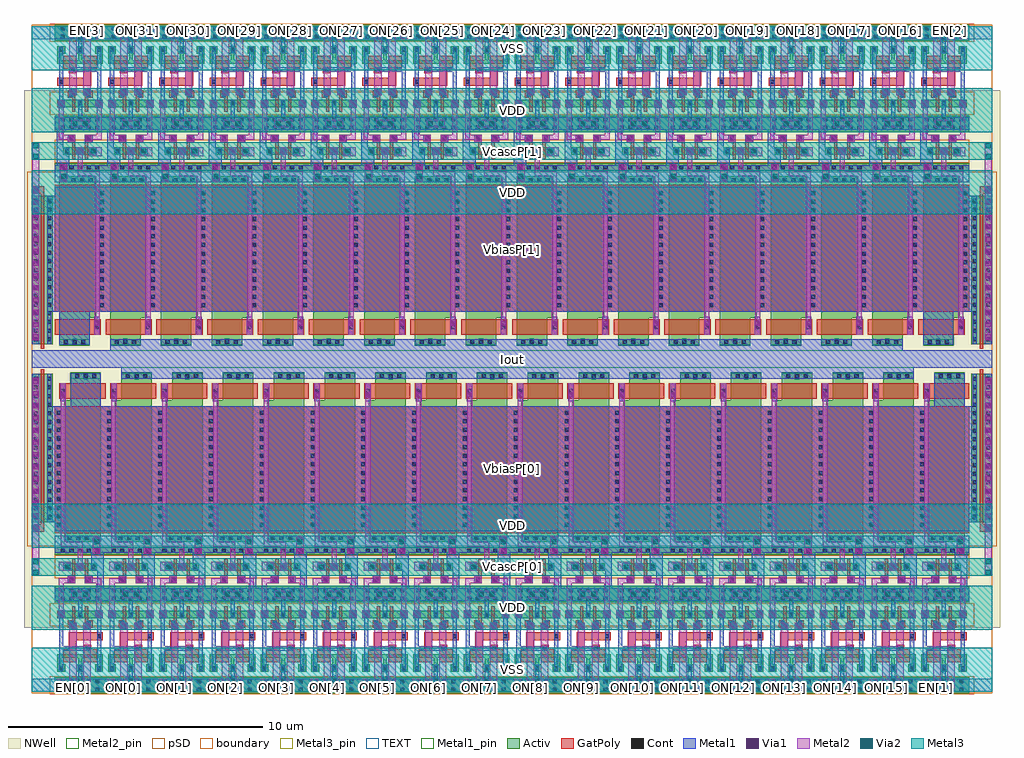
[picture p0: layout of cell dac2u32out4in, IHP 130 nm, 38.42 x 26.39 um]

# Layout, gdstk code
from math import pi, radians
import gdstk
lib = gdstk.Library(unit=1e-6, precision=1e-09)
def R(c, l, rs):  # rectangles x0, y0, x1, y1
    for r in rs: c.add(gdstk.rectangle(r[:2], r[2:], *l))
def A(c, l, x, y, w, h, nx, ny, dx, dy):  # array of equal rectangles
    R(c, l, [(x+i*dx, y+j*dy, x+i*dx+w, y+j*dy+h) for i in range(nx) for j in range(ny)])
Activ = (1, 0)
GatPoly = (5, 0)
Cont = (6, 0)
Metal1 = (8, 0)
Metal1_pin = (8, 2)
Metal2 = (10, 0)
Metal2_pin = (10, 2)
pSD = (14, 0)
Via1 = (19, 0)
Via2 = (29, 0)
Metal3 = (30, 0)
Metal3_pin = (30, 2)
NWell = (31, 0)
TEXT = (63, 0)
boundary = (189, 4)

feol_contacts_3_1_1 = lib.new_cell('FEOL$contacts$3$1$1')
A(feol_contacts_3_1_1, Cont, 0.125, 0, 0.16, 0.16, 17, 1, 0.34, 0)
R(feol_contacts_3_1_1, Metal1, [(0,0,5.85,0.16)])

feol_contacts_8_1 = lib.new_cell('FEOL$contacts$8$1')
R(feol_contacts_8_1, Cont, [(0.05,0,0.21,0.16)])
R(feol_contacts_8_1, Metal1, [(0,0,0.26,0.16)])

via_stack_5_1 = lib.new_cell('via_stack$5$1')
R(via_stack_5_1, Metal2, [(-0.145,-0.35,0.145,0.35)])
R(via_stack_5_1, Via2, [(-0.095,-0.3,0.095,-0.11), (-0.095,0.11,0.095,0.3)])
R(via_stack_5_1, Metal3, [(-0.145,-0.35,0.145,0.35)])

via_stack_6_1 = lib.new_cell('via_stack$6$1')
R(via_stack_6_1, Metal1, [(-0.145,-3.025,0.145,3.025)])
R(via_stack_6_1, Metal2, [(-0.145,-3.025,0.145,3.025)])
A(via_stack_6_1, Via1, -0.095, -2.975, 0.19, 0.19, 1, 13, 0, 0.48)

cascodebias_1 = lib.new_cell('CASCODEBIAS$1')
R(cascodebias_1, Activ, [(-1.9,1.76,-1.07,7.61)])
R(cascodebias_1, GatPoly, [(-1.9,1.38,-1.41,1.68), (-1.56,1.68,-1.41,7.79)])
R(cascodebias_1, Metal1, [(-1.3,1.76,-0.77,6.33)])
R(cascodebias_1, pSD, [(-2.08,1.46,-0.89,7.91)])
R(cascodebias_1, NWell, [(-2.21,1.45,-0.76,7.92)])
cascodebias_1.add(gdstk.FlexPath([(-1.75,7.61),(-1.75,1.4)], 0.29, ends="flush", simple_path=True, layer=8, datatype=0))  # Metal1
cascodebias_1.add(gdstk.FlexPath([(-1.75,1.61),(-1.75,1.96)], 0.16, ends="flush", simple_path=True, layer=8, datatype=0))  # Metal1
cascodebias_1.add(gdstk.FlexPath([(-1.75,1.93),(-1.75,0)], 0.29, ends="flush", simple_path=True, layer=10, datatype=0))  # Metal2
cascodebias_1.add(gdstk.Reference(feol_contacts_3_1_1, (-1.67,1.76), rotation=pi/2))
cascodebias_1.add(gdstk.Reference(feol_contacts_3_1_1, (-1.14,1.76), rotation=pi/2))
cascodebias_1.add(gdstk.Reference(feol_contacts_8_1, (-1.67,1.4), rotation=pi/2))
cascodebias_1.add(gdstk.Reference(via_stack_5_1, (-1.75,0)))
cascodebias_1.add(gdstk.Reference(via_stack_6_1, (-1.75,4.425)))

feol_contacts_4_1_1 = lib.new_cell('FEOL$contacts$4$1$1')
A(feol_contacts_4_1_1, Cont, 0.175, 0, 0.16, 0.16, 14, 1, 0.34, 0)
R(feol_contacts_4_1_1, Metal1, [(0,0,4.93,0.16)])

feol_contacts_7_1_1 = lib.new_cell('FEOL$contacts$7$1$1')
A(feol_contacts_7_1_1, Cont, 0.135, 0, 0.16, 0.16, 4, 1, 0.34, 0)
R(feol_contacts_7_1_1, Metal1, [(0,0,1.45,0.16)])

feol_contacts_5_1_1 = lib.new_cell('FEOL$contacts$5$1$1')
A(feol_contacts_5_1_1, Cont, 0.2, 0, 0.16, 0.16, 5, 1, 0.34, 0)
R(feol_contacts_5_1_1, Metal1, [(0,0,1.92,0.16)])

feol_contacts_6_1_1 = lib.new_cell('FEOL$contacts$6$1$1')
A(feol_contacts_6_1_1, Cont, 0.16, 0, 0.16, 0.16, 3, 1, 0.34, 0)
R(feol_contacts_6_1_1, Metal1, [(0,0,1.16,0.16)])

feol_contacts_1_2_1 = lib.new_cell('FEOL$contacts$1$2$1')
R(feol_contacts_1_2_1, Cont, [(0.18,0,0.34,0.16)])
R(feol_contacts_1_2_1, Metal1, [(0,0,0.52,0.16)])

pcsource2u_1 = lib.new_cell('PCSOURCE2U$1')
R(pcsource2u_1, Activ, [(-1,-6.3,1,-6), (-0.63,-5.79,0.82,-0.22), (-0.38,-0.38,0.82,0.88)])
R(pcsource2u_1, GatPoly, [(-1,-5.45,1,-0.45), (-0.82,-0.15,1,0.45)])
R(pcsource2u_1, Metal1, [(-1,-6.23,1,-5.56), (-1,-5.38,1,-0.45), (-0.78,-0.265,-0.56,0.445), (-0.375,0.625,0.815,0.835)])
R(pcsource2u_1, Metal1_pin, [(-1,-6.23,1,-5.56), (-1,-5.38,1,-0.45), (-0.375,0.625,0.815,0.835)])
R(pcsource2u_1, Metal2, [(-0.78,-0.145,-0.56,0.445)])
R(pcsource2u_1, Metal2_pin, [(-0.775,-0.145,-0.565,0.445)])
R(pcsource2u_1, pSD, [(-1.12,-5.97,1.12,1.06)])
R(pcsource2u_1, Via1, [(-0.765,-0.095,-0.575,0.095)])
R(pcsource2u_1, NWell, [(-1.24,-6.54,1.24,1.19)])
R(pcsource2u_1, TEXT, [(0.14,0.585,0.3,0.875), (0.125,0.635,0.315,0.825)])
R(pcsource2u_1, boundary, [(-1,-6.3,1,0.88)])
pcsource2u_1.add(gdstk.Reference(feol_contacts_4_1_1, (-0.77,-5.38), rotation=pi/2))
pcsource2u_1.add(gdstk.Reference(feol_contacts_7_1_1, (-0.63,-5.72)))
pcsource2u_1.add(gdstk.Reference(feol_contacts_5_1_1, (-0.96,-6.23)))
pcsource2u_1.add(gdstk.Reference(feol_contacts_6_1_1, (-0.36,0.65)))
pcsource2u_1.add(gdstk.Reference(feol_contacts_1_2_1, (-0.59,-0.11), rotation=pi/2))
pcsource2u_1.add(gdstk.Label('Iout', (0.22,0.73), layer=8, texttype=2))
pcsource2u_1.add(gdstk.Label('VbiasP', (0,-2.915), layer=8, texttype=2))
pcsource2u_1.add(gdstk.Label('VDD', (0,-5.895), layer=8, texttype=2))
pcsource2u_1.add(gdstk.Label('VcascodeP', (-0.67,0), layer=10, texttype=2))

feol_contacts_9 = lib.new_cell('FEOL$contacts$9')
R(feol_contacts_9, Cont, [(0.05,0,0.21,0.16)])
R(feol_contacts_9, Metal1, [(0,0,0.26,0.16)])

via_stack_2_1_1 = lib.new_cell('via_stack$2$1$1')
R(via_stack_2_1_1, Metal1, [(-0.145,-0.145,0.145,0.145)])
R(via_stack_2_1_1, Metal2, [(-0.145,-0.145,0.145,0.145)])
R(via_stack_2_1_1, Via1, [(-0.095,-0.095,0.095,0.095)])

via_stack_3_1 = lib.new_cell('via_stack$3$1')
R(via_stack_3_1, Metal1, [(-0.145,-0.145,0.145,0.145)])
R(via_stack_3_1, Metal2, [(-0.145,-0.145,0.145,0.145)])
R(via_stack_3_1, Via1, [(-0.095,-0.095,0.095,0.095)])
R(via_stack_3_1, Via2, [(-0.095,-0.095,0.095,0.095)])
R(via_stack_3_1, Metal3, [(-0.145,-0.145,0.145,0.145)])

dac_sw_1 = lib.new_cell('DAC_SW$1')
R(dac_sw_1, Activ, [(-0.66,-0.15,0.66,0.15)])
R(dac_sw_1, GatPoly, [(-0.49,-0.65,-0.19,-0.35), (0.19,-0.65,0.49,-0.35), (-0.32,-0.375,-0.19,0.33), (0.19,-0.375,0.32,0.33)])
A(dac_sw_1, Cont, -0.59, -0.08, 0.16, 0.16, 3, 1, 0.51, 0)
A(dac_sw_1, Metal1, -0.59, -0.13, 0.16, 0.26, 3, 1, 0.51, 0)
R(dac_sw_1, Metal1, [(-0.49,-0.65,-0.19,-0.35), (0.19,-0.65,0.49,-0.35), (-0.66,-0.15,-0.36,0.15), (-0.15,-0.15,0.15,0.15)])
R(dac_sw_1, Metal2, [(-0.845,-0.145,-0.365,0.205)])
R(dac_sw_1, pSD, [(-1,-0.45,1,0.45)])
R(dac_sw_1, NWell, [(-1,-0.5,1,0.5)])
R(dac_sw_1, boundary, [(-1,-0.36,1,0.36)])
dac_sw_1.add(gdstk.FlexPath([(0.43,0),(0.8,0),(0.8,-0.985)], 0.26, ends="flush", simple_path=True, layer=8, datatype=0))  # Metal1
dac_sw_1.add(gdstk.FlexPath([(-0.745,-1.95),(-0.745,-0.545),(-0.24,-0.545)], 0.2, ends="flush", simple_path=True, layer=10, datatype=0))  # Metal2
dac_sw_1.add(gdstk.FlexPath([(0.74,-1.95),(0.74,-0.545),(0.24,-0.545)], 0.2, ends="flush", simple_path=True, layer=10, datatype=0))  # Metal2
dac_sw_1.add(gdstk.Reference(feol_contacts_9, (-0.26,-0.63), rotation=pi/2))
dac_sw_1.add(gdstk.Reference(feol_contacts_9, (0.42,-0.63), rotation=pi/2))
dac_sw_1.add(gdstk.Reference(via_stack_2_1_1, (-0.34,-0.5)))
dac_sw_1.add(gdstk.Reference(via_stack_3_1, (-0.51,0)))
dac_sw_1.add(gdstk.Reference(via_stack_2_1_1, (0.34,-0.5)))
dac_sw_1.add(gdstk.Reference(via_stack_2_1_1, (0,0)))

feol_contacts_3_2 = lib.new_cell('FEOL$contacts$3$2')
A(feol_contacts_3_2, Cont, 0.2, 0, 0.16, 0.16, 5, 2, 0.34, 0.34)
R(feol_contacts_3_2, Metal1, [(0,0,1.92,0.5)])

feol_contacts_1_1_1_1 = lib.new_cell('FEOL$contacts$1$1$1$1')
R(feol_contacts_1_1_1_1, Cont, [(0.05,0,0.21,0.16)])
R(feol_contacts_1_1_1_1, Metal1, [(0,0,0.26,0.16)])

via_stack_1_1_1_1 = lib.new_cell('via_stack$1$1$1$1')
R(via_stack_1_1_1_1, Metal1, [(-0.145,-0.145,0.145,0.145)])
R(via_stack_1_1_1_1, Metal2, [(-0.145,-0.145,0.145,0.145)])
R(via_stack_1_1_1_1, Via1, [(-0.095,-0.095,0.095,0.095)])

nonoverlap_1 = lib.new_cell('NONOVERLAP$1')
A(nonoverlap_1, Activ, -0.895, -2.25, 0.3, 0.3, 3, 1, 0.745, 0)
R(nonoverlap_1, Activ, [(-1,-3.1,1,-2.46), (-0.895,-1.7,0.895,-1.55), (-0.895,-0.15,0.895,0.15), (-1,0.48,1,1.12)])
R(nonoverlap_1, GatPoly, [(-0.665,-1.88,-0.145,-1.37), (0.145,-1.88,0.665,-1.37), (0.145,-1.48,0.445,-1.18), (0.595,-1,0.895,-0.7), (-0.49,-0.52,-0.19,-0.22), (0.19,-0.52,0.49,-0.22), (-0.32,-0.33,-0.19,0.33), (0.19,-0.33,0.32,0.33)])
R(nonoverlap_1, Metal1, [(-1,-3.03,1,-2.53), (-1,0.55,1,1.05), (-1,0.55,1,1.05)])
R(nonoverlap_1, Metal1_pin, [(-1,-3.03,1,-2.53), (-1,0.55,1,1.05)])
R(nonoverlap_1, Metal2_pin, [(-0.42,-0.6,-0.13,-0.31), (0.13,-0.6,0.42,-0.31), (-0.89,-0.12,-0.6,0.17), (0.6,-0.12,0.89,0.17)])
R(nonoverlap_1, pSD, [(-1.195,-3.13,1.195,-2.43), (-1.195,-0.45,1.195,0.45)])
R(nonoverlap_1, NWell, [(-1.24,-0.505,1.24,1.44)])
R(nonoverlap_1, boundary, [(-1,-3.1,1,1.12)])
nonoverlap_1.add(gdstk.FlexPath([(0.38,-1.33),(-0.745,-1.33)], 0.16, ends="flush", simple_path=True, layer=8, datatype=0))  # Metal1
nonoverlap_1.add(gdstk.FlexPath([(-0.745,-2.02),(-0.745,-0.08)], 0.16, ends="flush", simple_path=True, layer=8, datatype=0))  # Metal1
nonoverlap_1.add(gdstk.FlexPath([(0.745,-2.02),(0.745,-0.08)], 0.16, ends="flush", simple_path=True, layer=8, datatype=0))  # Metal1
nonoverlap_1.add(gdstk.FlexPath([(0,-2.02),(0,-2.69)], 0.16, ends="flush", simple_path=True, layer=8, datatype=0))  # Metal1
nonoverlap_1.add(gdstk.FlexPath([(0,0.71),(0,-0.08)], 0.16, ends="flush", simple_path=True, layer=8, datatype=0))  # Metal1
nonoverlap_1.add(gdstk.FlexPath([(0,-1.63),(0,-2.18)], 0.15, ends="flush", simple_path=True, layer=1, datatype=0))  # Activ
nonoverlap_1.add(gdstk.FlexPath([(0.82,-1.635),(0.82,-2.18)], 0.15, ends="flush", simple_path=True, layer=1, datatype=0))  # Activ
nonoverlap_1.add(gdstk.FlexPath([(-0.82,-1.63),(-0.82,-2.18)], 0.15, ends="flush", simple_path=True, layer=1, datatype=0))  # Activ
nonoverlap_1.add(gdstk.FlexPath([(-0.295,-1.475),(-0.295,-0.85),(0.745,-0.85)], 0.3, ends="flush", simple_path=True, layer=5, datatype=0))  # GatPoly
nonoverlap_1.add(gdstk.Reference(feol_contacts_3_2, (-0.96,0.55)))
nonoverlap_1.add(gdstk.Reference(feol_contacts_1_1_1_1, (0.825,-0.13), rotation=pi/2))
nonoverlap_1.add(gdstk.Reference(feol_contacts_1_1_1_1, (0.08,-0.13), rotation=pi/2))
nonoverlap_1.add(gdstk.Reference(feol_contacts_1_1_1_1, (-0.665,-0.13), rotation=pi/2))
nonoverlap_1.add(gdstk.Reference(feol_contacts_1_1_1_1, (-0.26,-0.5), rotation=pi/2))
nonoverlap_1.add(gdstk.Reference(feol_contacts_1_1_1_1, (0.42,-0.5), rotation=pi/2))
nonoverlap_1.add(gdstk.Reference(feol_contacts_1_1_1_1, (-0.665,-2.23), rotation=pi/2))
nonoverlap_1.add(gdstk.Reference(feol_contacts_1_1_1_1, (0.165,-1.41)))
nonoverlap_1.add(gdstk.Reference(feol_contacts_1_1_1_1, (0.825,-2.23), rotation=pi/2))
nonoverlap_1.add(gdstk.Reference(feol_contacts_1_1_1_1, (0.08,-2.23), rotation=pi/2))
nonoverlap_1.add(gdstk.Reference(feol_contacts_3_2, (-0.96,-3.03)))
nonoverlap_1.add(gdstk.Reference(via_stack_1_1_1_1, (0.275,-0.455)))
nonoverlap_1.add(gdstk.Reference(via_stack_1_1_1_1, (-0.275,-0.455)))
nonoverlap_1.add(gdstk.Reference(via_stack_1_1_1_1, (0.745,0.025)))
nonoverlap_1.add(gdstk.Reference(via_stack_1_1_1_1, (-0.745,0.025)))
nonoverlap_1.add(gdstk.Reference(feol_contacts_1_1_1_1, (0.825,-0.98), rotation=pi/2))
nonoverlap_1.add(gdstk.Label('VSS', (0,-2.78), layer=8, texttype=2))
nonoverlap_1.add(gdstk.Label('VDD', (0,0.8), layer=8, texttype=2))
nonoverlap_1.add(gdstk.Label('OUTN', (-0.745,0.025), layer=10, texttype=2))
nonoverlap_1.add(gdstk.Label('INP', (-0.275,-0.455), layer=10, texttype=2))
nonoverlap_1.add(gdstk.Label('OUTP', (0.745,0.025), layer=10, texttype=2))
nonoverlap_1.add(gdstk.Label('INN', (0.275,-0.455), layer=10, texttype=2))

cascodedrive_1 = lib.new_cell('CASCODEDRIVE$1')
cascodedrive_1.add(gdstk.Reference(dac_sw_1, (0,0)))
cascodedrive_1.add(gdstk.Reference(nonoverlap_1, (0,-1.88)))

via_stack_7_1 = lib.new_cell('via_stack$7$1')
R(via_stack_7_1, Metal1, [(-0.145,-0.35,0.145,0.35)])
R(via_stack_7_1, Metal2, [(-0.145,-0.35,0.145,0.35)])
R(via_stack_7_1, Via1, [(-0.095,-0.3,0.095,-0.11), (-0.095,0.11,0.095,0.3)])

via_stack_4 = lib.new_cell('via_stack$4')
R(via_stack_4, Metal1, [(-0.35,-0.145,0.35,0.145)])
R(via_stack_4, Metal2, [(-0.35,-0.145,0.35,0.145)])
R(via_stack_4, Via1, [(-0.3,-0.095,-0.11,0.095), (0.11,-0.095,0.3,0.095)])
R(via_stack_4, Via2, [(-0.3,-0.095,-0.11,0.095), (0.11,-0.095,0.3,0.095)])
R(via_stack_4, Metal3, [(-0.35,-0.145,0.35,0.145)])

via_stack_6_2 = lib.new_cell('via_stack$6$2')
R(via_stack_6_2, Metal2, [(-0.145,-0.145,0.145,0.145)])
R(via_stack_6_2, Via2, [(-0.095,-0.095,0.095,0.095)])
R(via_stack_6_2, Metal3, [(-0.145,-0.145,0.145,0.145)])

via_stack_9 = lib.new_cell('via_stack$9')
R(via_stack_9, Metal1, [(-0.145,-0.145,0.145,0.145)])
R(via_stack_9, Metal2, [(-0.145,-0.145,0.145,0.145)])
R(via_stack_9, Via1, [(-0.095,-0.095,0.095,0.095)])
R(via_stack_9, Via2, [(-0.095,-0.095,0.095,0.095)])
R(via_stack_9, Metal3, [(-0.145,-0.145,0.145,0.145)])

unitsource2u_1 = lib.new_cell('UNITSOURCE2U$1')
R(unitsource2u_1, Metal1, [(0.43,-0.13,0.93,0.71)])
R(unitsource2u_1, Metal1_pin, [(-1,0.55,1,1.22), (-1,1.4,1,6.33), (-0.375,7.405,0.815,7.615)])
R(unitsource2u_1, Metal2, [(-0.92,-4.91,-0.63,-4.41)])
R(unitsource2u_1, Metal2_pin, [(-0.42,-4.91,-0.13,-4.62), (0.13,-4.91,0.42,-4.62)])
R(unitsource2u_1, Metal3, [(-1,-4.91,1,-3.18), (-1,-2.48,1,-0.75), (-1,0.75,1,2.48)])
R(unitsource2u_1, Metal3_pin, [(-1,-4.91,1,-3.18), (-1,-2.48,1,-0.75), (-1,-0.35,1,0.35), (-1,0.75,1,2.48)])
R(unitsource2u_1, NWell, [(-1.24,-2.385,1.24,7.97)])
unitsource2u_1.add(gdstk.FlexPath([(-0.275,-4.91),(-0.275,-2.19)], 0.29, ends="flush", simple_path=True, layer=10, datatype=0))  # Metal2
unitsource2u_1.add(gdstk.FlexPath([(0.275,-4.91),(0.275,-2.19)], 0.29, ends="flush", simple_path=True, layer=10, datatype=0))  # Metal2
unitsource2u_1.add(gdstk.FlexPath([(-0.67,6.685),(-0.67,0.885),(0,0.885),(0,0.095)], 0.2, ends="flush", simple_path=True, layer=10, datatype=0))  # Metal2
unitsource2u_1.add(gdstk.FlexPath([(-1,0),(1,0)], 0.7, ends="flush", simple_path=True, layer=30, datatype=0))  # Metal3
unitsource2u_1.add(gdstk.Reference(pcsource2u_1, (0,6.78)))
unitsource2u_1.add(gdstk.Reference(cascodedrive_1, (0,0)))
unitsource2u_1.add(gdstk.Reference(via_stack_7_1, (0.65,0.87)))
unitsource2u_1.add(gdstk.Reference(via_stack_4, (0,-1.08)))
unitsource2u_1.add(gdstk.Reference(via_stack_6_2, (0.65,0.985)))
unitsource2u_1.add(gdstk.Reference(via_stack_9, (-0.775,-4.66)))
unitsource2u_1.add(gdstk.Label('VDD', (0,1.615), layer=30, texttype=0))
unitsource2u_1.add(gdstk.Label('VbiasP', (0,3.865), layer=8, texttype=2))
unitsource2u_1.add(gdstk.Label('Iout', (0.22,7.51), layer=8, texttype=2))
unitsource2u_1.add(gdstk.Label('ON', (-0.275,-4.765), layer=10, texttype=2))
unitsource2u_1.add(gdstk.Label('ONB', (0.275,-4.765), layer=10, texttype=2))
unitsource2u_1.add(gdstk.Label('VSS', (0,-4.045), layer=30, texttype=2))
unitsource2u_1.add(gdstk.Label('VDD', (0,-1.615), layer=30, texttype=2))
unitsource2u_1.add(gdstk.Label('VcascP', (0,0), layer=30, texttype=2))

dac2u16out2in = lib.new_cell('dac2u16out2in')
R(dac2u16out2in, Metal1, [(-0.375,6.2,0.815,7.615), (33.625,6.2,34.815,7.615), (1.625,7.405,32.815,8.535)])
R(dac2u16out2in, Metal1_pin, [(-1,1.4,35,6.33), (-1.9,7.835,35.9,8.535)])
R(dac2u16out2in, Metal2_pin, [(-0.375,-4.91,-0.175,-4.62), (-0.375,-4.91,-0.175,-4.62), (0.175,-4.91,0.375,-4.62), (0.175,-4.91,0.375,-4.62), (1.625,-4.91,1.825,-4.62), (1.625,-4.91,1.825,-4.62), (2.175,-4.91,2.375,-4.62), (2.175,-4.91,2.375,-4.62), (3.625,-4.91,3.825,-4.62), (3.625,-4.91,3.825,-4.62), (4.175,-4.91,4.375,-4.62), (4.175,-4.91,4.375,-4.62), (5.625,-4.91,5.825,-4.62), (5.625,-4.91,5.825,-4.62), (6.175,-4.91,6.375,-4.62), (6.175,-4.91,6.375,-4.62), (7.625,-4.91,7.825,-4.62), (7.625,-4.91,7.825,-4.62), (8.175,-4.91,8.375,-4.62), (8.175,-4.91,8.375,-4.62), (9.625,-4.91,9.825,-4.62), (9.625,-4.91,9.825,-4.62), (10.175,-4.91,10.375,-4.62), (10.175,-4.91,10.375,-4.62), (11.625,-4.91,11.825,-4.62), (11.625,-4.91,11.825,-4.62), (12.175,-4.91,12.375,-4.62), (12.175,-4.91,12.375,-4.62), (13.625,-4.91,13.825,-4.62), (13.625,-4.91,13.825,-4.62), (14.175,-4.91,14.375,-4.62), (14.175,-4.91,14.375,-4.62), (15.625,-4.91,15.825,-4.62), (15.625,-4.91,15.825,-4.62), (16.175,-4.91,16.375,-4.62), (16.175,-4.91,16.375,-4.62), (17.625,-4.91,17.825,-4.62), (17.625,-4.91,17.825,-4.62), (18.175,-4.91,18.375,-4.62), (18.175,-4.91,18.375,-4.62), (19.625,-4.91,19.825,-4.62), (19.625,-4.91,19.825,-4.62), (20.175,-4.91,20.375,-4.62), (20.175,-4.91,20.375,-4.62), (21.625,-4.91,21.825,-4.62), (21.625,-4.91,21.825,-4.62), (22.175,-4.91,22.375,-4.62), (22.175,-4.91,22.375,-4.62), (23.625,-4.91,23.825,-4.62), (23.625,-4.91,23.825,-4.62), (24.175,-4.91,24.375,-4.62), (24.175,-4.91,24.375,-4.62), (25.625,-4.91,25.825,-4.62), (25.625,-4.91,25.825,-4.62), (26.175,-4.91,26.375,-4.62), (26.175,-4.91,26.375,-4.62), (27.625,-4.91,27.825,-4.62), (27.625,-4.91,27.825,-4.62), (28.175,-4.91,28.375,-4.62), (28.175,-4.91,28.375,-4.62), (29.625,-4.91,29.825,-4.62), (29.625,-4.91,29.825,-4.62), (30.175,-4.91,30.375,-4.62), (30.175,-4.91,30.375,-4.62), (31.625,-4.91,31.825,-4.62), (31.625,-4.91,31.825,-4.62), (32.175,-4.91,32.375,-4.62), (32.175,-4.91,32.375,-4.62), (33.625,-4.91,33.825,-4.62), (33.625,-4.91,33.825,-4.62), (34.175,-4.91,34.375,-4.62), (34.175,-4.91,34.375,-4.62)])
R(dac2u16out2in, Metal3_pin, [(-1.9,-4.91,35.9,-3.18), (-1.9,-2.48,35.9,-0.75), (-1.9,-0.35,35.9,0.35), (-1.9,0.75,35.9,2.48)])
dac2u16out2in.add(gdstk.FlexPath([(-1.9,8.185),(35.9,8.185)], 0.7, ends="flush", simple_path=True, layer=8, datatype=0))  # Metal1
dac2u16out2in.add(gdstk.FlexPath([(-1.9,-4.66),(35.9,-4.66)], 0.5, ends="flush", simple_path=True, layer=8, datatype=0))  # Metal1
dac2u16out2in.add(gdstk.FlexPath([(-1.9,1.615),(35.9,1.615)], 1.73, ends="flush", simple_path=True, layer=30, datatype=0))  # Metal3
dac2u16out2in.add(gdstk.FlexPath([(-1.9,0),(35.9,0)], 0.7, ends="flush", simple_path=True, layer=30, datatype=0))  # Metal3
dac2u16out2in.add(gdstk.FlexPath([(-1.9,-1.615),(35.9,-1.615)], 1.73, ends="flush", simple_path=True, layer=30, datatype=0))  # Metal3
dac2u16out2in.add(gdstk.FlexPath([(-1.9,-4.045),(35.9,-4.045)], 1.73, ends="flush", simple_path=True, layer=30, datatype=0))  # Metal3
dac2u16out2in.add(gdstk.Reference(cascodebias_1, (0,0)))
r = gdstk.Reference(unitsource2u_1, (0,0)); r.repetition = gdstk.Repetition(18, 1, v1=(2,0), v2=(0,0)); dac2u16out2in.add(r)
dac2u16out2in.add(gdstk.Reference(cascodebias_1, (34,0), rotation=pi, x_reflection=True))
dac2u16out2in.add(gdstk.Label('VbiasP', (17,3.865), layer=8, texttype=25))
dac2u16out2in.add(gdstk.Label('Iout', (17,8.185), layer=8, texttype=25))
dac2u16out2in.add(gdstk.Label('EN[1]', (33.725,-4.765), layer=10, texttype=25))
dac2u16out2in.add(gdstk.Label('ENB[1]', (34.275,-4.765), layer=10, texttype=25))
dac2u16out2in.add(gdstk.Label('ON[0]', (1.725,-4.765), layer=10, texttype=25))
dac2u16out2in.add(gdstk.Label('ONB[0]', (2.275,-4.765), layer=10, texttype=25))
dac2u16out2in.add(gdstk.Label('ON[1]', (3.725,-4.765), layer=10, texttype=25))
dac2u16out2in.add(gdstk.Label('ONB[1]', (4.275,-4.765), layer=10, texttype=25))
dac2u16out2in.add(gdstk.Label('ON[2]', (5.725,-4.765), layer=10, texttype=25))
dac2u16out2in.add(gdstk.Label('ONB[2]', (6.275,-4.765), layer=10, texttype=25))
dac2u16out2in.add(gdstk.Label('ON[3]', (7.725,-4.765), layer=10, texttype=25))
dac2u16out2in.add(gdstk.Label('ONB[3]', (8.275,-4.765), layer=10, texttype=25))
dac2u16out2in.add(gdstk.Label('ON[4]', (9.725,-4.765), layer=10, texttype=25))
dac2u16out2in.add(gdstk.Label('ONB[4]', (10.275,-4.765), layer=10, texttype=25))
dac2u16out2in.add(gdstk.Label('EN[0]', (-0.275,-4.765), layer=10, texttype=25))
dac2u16out2in.add(gdstk.Label('ENB[0]', (0.275,-4.765), layer=10, texttype=25))
dac2u16out2in.add(gdstk.Label('ON', (-0.275,-4.765), layer=10, texttype=25))
dac2u16out2in.add(gdstk.Label('ONB', (0.275,-4.765), layer=10, texttype=25))
dac2u16out2in.add(gdstk.Label('ON', (1.725,-4.765), layer=10, texttype=25))
dac2u16out2in.add(gdstk.Label('ONB', (2.275,-4.765), layer=10, texttype=25))
dac2u16out2in.add(gdstk.Label('ON', (3.725,-4.765), layer=10, texttype=25))
dac2u16out2in.add(gdstk.Label('ONB', (4.275,-4.765), layer=10, texttype=25))
dac2u16out2in.add(gdstk.Label('ON', (5.725,-4.765), layer=10, texttype=25))
dac2u16out2in.add(gdstk.Label('ONB', (6.275,-4.765), layer=10, texttype=25))
dac2u16out2in.add(gdstk.Label('ON', (7.725,-4.765), layer=10, texttype=25))
dac2u16out2in.add(gdstk.Label('ONB', (8.275,-4.765), layer=10, texttype=25))
dac2u16out2in.add(gdstk.Label('ON', (9.725,-4.765), layer=10, texttype=25))
dac2u16out2in.add(gdstk.Label('ONB', (10.275,-4.765), layer=10, texttype=25))
dac2u16out2in.add(gdstk.Label('ON[5]', (11.725,-4.765), layer=10, texttype=25))
dac2u16out2in.add(gdstk.Label('ONB[5]', (12.275,-4.765), layer=10, texttype=25))
dac2u16out2in.add(gdstk.Label('ON[6]', (13.725,-4.765), layer=10, texttype=25))
dac2u16out2in.add(gdstk.Label('ONB[6]', (14.275,-4.765), layer=10, texttype=25))
dac2u16out2in.add(gdstk.Label('ON[7]', (15.725,-4.765), layer=10, texttype=25))
dac2u16out2in.add(gdstk.Label('ONB[7]', (16.275,-4.765), layer=10, texttype=25))
dac2u16out2in.add(gdstk.Label('ON[8]', (17.725,-4.765), layer=10, texttype=25))
dac2u16out2in.add(gdstk.Label('ONB[8]', (18.275,-4.765), layer=10, texttype=25))
dac2u16out2in.add(gdstk.Label('ON[9]', (19.725,-4.765), layer=10, texttype=25))
dac2u16out2in.add(gdstk.Label('ONB[9]', (20.275,-4.765), layer=10, texttype=25))
dac2u16out2in.add(gdstk.Label('ON[10]', (21.725,-4.765), layer=10, texttype=25))
dac2u16out2in.add(gdstk.Label('ONB[10]', (22.275,-4.765), layer=10, texttype=25))
dac2u16out2in.add(gdstk.Label('ON', (11.725,-4.765), layer=10, texttype=25))
dac2u16out2in.add(gdstk.Label('ONB', (12.275,-4.765), layer=10, texttype=25))
dac2u16out2in.add(gdstk.Label('ON', (13.725,-4.765), layer=10, texttype=25))
dac2u16out2in.add(gdstk.Label('ONB', (14.275,-4.765), layer=10, texttype=25))
dac2u16out2in.add(gdstk.Label('ON', (15.725,-4.765), layer=10, texttype=25))
dac2u16out2in.add(gdstk.Label('ONB', (16.275,-4.765), layer=10, texttype=25))
dac2u16out2in.add(gdstk.Label('ON', (17.725,-4.765), layer=10, texttype=25))
dac2u16out2in.add(gdstk.Label('ONB', (18.275,-4.765), layer=10, texttype=25))
dac2u16out2in.add(gdstk.Label('ON', (19.725,-4.765), layer=10, texttype=25))
dac2u16out2in.add(gdstk.Label('ONB', (20.275,-4.765), layer=10, texttype=25))
dac2u16out2in.add(gdstk.Label('ON', (21.725,-4.765), layer=10, texttype=25))
dac2u16out2in.add(gdstk.Label('ONB', (22.275,-4.765), layer=10, texttype=25))
dac2u16out2in.add(gdstk.Label('ON[11]', (23.725,-4.765), layer=10, texttype=25))
dac2u16out2in.add(gdstk.Label('ONB[11]', (24.275,-4.765), layer=10, texttype=25))
dac2u16out2in.add(gdstk.Label('ON[12]', (25.725,-4.765), layer=10, texttype=25))
dac2u16out2in.add(gdstk.Label('ONB[12]', (26.275,-4.765), layer=10, texttype=25))
dac2u16out2in.add(gdstk.Label('ON[13]', (27.725,-4.765), layer=10, texttype=25))
dac2u16out2in.add(gdstk.Label('ONB[13]', (28.275,-4.765), layer=10, texttype=25))
dac2u16out2in.add(gdstk.Label('ON[14]', (29.725,-4.765), layer=10, texttype=25))
dac2u16out2in.add(gdstk.Label('ONB[14]', (30.275,-4.765), layer=10, texttype=25))
dac2u16out2in.add(gdstk.Label('ON[15]', (31.725,-4.765), layer=10, texttype=25))
dac2u16out2in.add(gdstk.Label('ONB[15]', (32.275,-4.765), layer=10, texttype=25))
dac2u16out2in.add(gdstk.Label('ON', (23.725,-4.765), layer=10, texttype=25))
dac2u16out2in.add(gdstk.Label('ONB', (24.275,-4.765), layer=10, texttype=25))
dac2u16out2in.add(gdstk.Label('ON', (25.725,-4.765), layer=10, texttype=25))
dac2u16out2in.add(gdstk.Label('ONB', (26.275,-4.765), layer=10, texttype=25))
dac2u16out2in.add(gdstk.Label('ON', (27.725,-4.765), layer=10, texttype=25))
dac2u16out2in.add(gdstk.Label('ONB', (28.275,-4.765), layer=10, texttype=25))
dac2u16out2in.add(gdstk.Label('ON', (29.725,-4.765), layer=10, texttype=25))
dac2u16out2in.add(gdstk.Label('ONB', (30.275,-4.765), layer=10, texttype=25))
dac2u16out2in.add(gdstk.Label('ON', (31.725,-4.765), layer=10, texttype=25))
dac2u16out2in.add(gdstk.Label('ONB', (32.275,-4.765), layer=10, texttype=25))
dac2u16out2in.add(gdstk.Label('ON', (33.725,-4.765), layer=10, texttype=25))
dac2u16out2in.add(gdstk.Label('ONB', (34.275,-4.765), layer=10, texttype=25))
dac2u16out2in.add(gdstk.Label('VDD', (17,1.615), layer=30, texttype=25))
dac2u16out2in.add(gdstk.Label('VcascP', (17,0), layer=30, texttype=25))
dac2u16out2in.add(gdstk.Label('VDD', (17,-1.615), layer=30, texttype=25))
dac2u16out2in.add(gdstk.Label('VSS', (17,-4.045), layer=30, texttype=25))

dac2u32out4in = lib.new_cell('dac2u32out4in')
R(dac2u32out4in, Metal1_pin, [(0.9,6.31,36.9,11.24), (0,12.745,37.8,13.445), (0.9,14.95,36.9,19.88)])
R(dac2u32out4in, Metal2_pin, [(1.525,0,1.725,0.29), (2.075,0,2.275,0.29), (3.525,0,3.725,0.29), (4.075,0,4.275,0.29), (5.525,0,5.725,0.29), (6.075,0,6.275,0.29), (7.525,0,7.725,0.29), (8.075,0,8.275,0.29), (9.525,0,9.725,0.29), (10.075,0,10.275,0.29), (11.525,0,11.725,0.29), (12.075,0,12.275,0.29), (13.525,0,13.725,0.29), (14.075,0,14.275,0.29), (15.525,0,15.725,0.29), (16.075,0,16.275,0.29), (17.525,0,17.725,0.29), (18.075,0,18.275,0.29), (19.525,0,19.725,0.29), (20.075,0,20.275,0.29), (21.525,0,21.725,0.29), (22.075,0,22.275,0.29), (23.525,0,23.725,0.29), (24.075,0,24.275,0.29), (25.525,0,25.725,0.29), (26.075,0,26.275,0.29), (27.525,0,27.725,0.29), (28.075,0,28.275,0.29), (29.525,0,29.725,0.29), (30.075,0,30.275,0.29), (31.525,0,31.725,0.29), (32.075,0,32.275,0.29), (33.525,0,33.725,0.29), (34.075,0,34.275,0.29), (35.525,0,35.725,0.29), (36.075,0,36.275,0.29), (1.525,25.9,1.725,26.19), (2.075,25.9,2.275,26.19), (3.525,25.9,3.725,26.19), (4.075,25.9,4.275,26.19), (5.525,25.9,5.725,26.19), (6.075,25.9,6.275,26.19), (7.525,25.9,7.725,26.19), (8.075,25.9,8.275,26.19), (9.525,25.9,9.725,26.19), (10.075,25.9,10.275,26.19), (11.525,25.9,11.725,26.19), (12.075,25.9,12.275,26.19), (13.525,25.9,13.725,26.19), (14.075,25.9,14.275,26.19), (15.525,25.9,15.725,26.19), (16.075,25.9,16.275,26.19), (17.525,25.9,17.725,26.19), (18.075,25.9,18.275,26.19), (19.525,25.9,19.725,26.19), (20.075,25.9,20.275,26.19), (21.525,25.9,21.725,26.19), (22.075,25.9,22.275,26.19), (23.525,25.9,23.725,26.19), (24.075,25.9,24.275,26.19), (25.525,25.9,25.725,26.19), (26.075,25.9,26.275,26.19), (27.525,25.9,27.725,26.19), (28.075,25.9,28.275,26.19), (29.525,25.9,29.725,26.19), (30.075,25.9,30.275,26.19), (31.525,25.9,31.725,26.19), (32.075,25.9,32.275,26.19), (33.525,25.9,33.725,26.19), (34.075,25.9,34.275,26.19), (35.525,25.9,35.725,26.19), (36.075,25.9,36.275,26.19)])
R(dac2u32out4in, pSD, [(-0.18,5.72,37.98,20.47)])
R(dac2u32out4in, Metal3_pin, [(0,0,37.8,1.73), (0,2.43,37.8,4.16), (0,4.56,37.8,5.26), (0,5.66,37.8,7.39), (0,18.8,37.8,20.53), (0,20.93,37.8,21.63), (0,22.03,37.8,23.76), (0,24.46,37.8,26.19)])
R(dac2u32out4in, NWell, [(-0.31,2.525,38.11,23.665)])
R(dac2u32out4in, boundary, [(0,-0.07,37.8,26.26)])
dac2u32out4in.add(gdstk.Reference(dac2u16out2in, (1.9,4.91)))
dac2u32out4in.add(gdstk.Reference(dac2u16out2in, (35.9,21.28), rotation=pi))
dac2u32out4in.add(gdstk.Label('VbiasP[1]', (18.9,17.415), layer=8, texttype=25))
dac2u32out4in.add(gdstk.Label('Iout', (18.9,13.095), layer=8, texttype=25))
dac2u32out4in.add(gdstk.Label('VbiasP[0]', (18.9,8.775), layer=8, texttype=25))
dac2u32out4in.add(gdstk.Label('EN[1]', (35.625,0.145), layer=10, texttype=25))
dac2u32out4in.add(gdstk.Label('ENB[1]', (36.175,0.145), layer=10, texttype=25))
dac2u32out4in.add(gdstk.Label('EN[2]', (36.175,26.045), layer=10, texttype=25))
dac2u32out4in.add(gdstk.Label('ENB[2]', (35.625,26.045), layer=10, texttype=25))
dac2u32out4in.add(gdstk.Label('ON[16]', (34.175,26.045), layer=10, texttype=25))
dac2u32out4in.add(gdstk.Label('ONB[16]', (33.625,26.045), layer=10, texttype=25))
dac2u32out4in.add(gdstk.Label('ON[17]', (32.175,26.045), layer=10, texttype=25))
dac2u32out4in.add(gdstk.Label('ONB[17]', (31.625,26.045), layer=10, texttype=25))
dac2u32out4in.add(gdstk.Label('ON[18]', (30.175,26.045), layer=10, texttype=25))
dac2u32out4in.add(gdstk.Label('ONB[18]', (29.625,26.045), layer=10, texttype=25))
dac2u32out4in.add(gdstk.Label('ON[19]', (28.175,26.045), layer=10, texttype=25))
dac2u32out4in.add(gdstk.Label('ONB[19]', (27.625,26.045), layer=10, texttype=25))
dac2u32out4in.add(gdstk.Label('ON[20]', (26.175,26.045), layer=10, texttype=25))
dac2u32out4in.add(gdstk.Label('ONB[20]', (25.625,26.045), layer=10, texttype=25))
dac2u32out4in.add(gdstk.Label('ON[21]', (24.175,26.045), layer=10, texttype=25))
dac2u32out4in.add(gdstk.Label('ONB[21]', (23.625,26.045), layer=10, texttype=25))
dac2u32out4in.add(gdstk.Label('ON[22]', (22.175,26.045), layer=10, texttype=25))
dac2u32out4in.add(gdstk.Label('ONB[22]', (21.625,26.045), layer=10, texttype=25))
dac2u32out4in.add(gdstk.Label('ON[23]', (20.175,26.045), layer=10, texttype=25))
dac2u32out4in.add(gdstk.Label('ONB[23]', (19.625,26.045), layer=10, texttype=25))
dac2u32out4in.add(gdstk.Label('ON[24]', (18.175,26.045), layer=10, texttype=25))
dac2u32out4in.add(gdstk.Label('ONB[24]', (17.625,26.045), layer=10, texttype=25))
dac2u32out4in.add(gdstk.Label('ON[25]', (16.175,26.045), layer=10, texttype=25))
dac2u32out4in.add(gdstk.Label('ONB[25]', (15.625,26.045), layer=10, texttype=25))
dac2u32out4in.add(gdstk.Label('ON[26]', (14.175,26.045), layer=10, texttype=25))
dac2u32out4in.add(gdstk.Label('ONB[26]', (13.625,26.045), layer=10, texttype=25))
dac2u32out4in.add(gdstk.Label('ON[27]', (12.175,26.045), layer=10, texttype=25))
dac2u32out4in.add(gdstk.Label('ONB[27]', (11.625,26.045), layer=10, texttype=25))
dac2u32out4in.add(gdstk.Label('ON[28]', (10.175,26.045), layer=10, texttype=25))
dac2u32out4in.add(gdstk.Label('ONB[28]', (9.625,26.045), layer=10, texttype=25))
dac2u32out4in.add(gdstk.Label('ON[29]', (8.175,26.045), layer=10, texttype=25))
dac2u32out4in.add(gdstk.Label('ONB[29]', (7.625,26.045), layer=10, texttype=25))
dac2u32out4in.add(gdstk.Label('ON[30]', (6.175,26.045), layer=10, texttype=25))
dac2u32out4in.add(gdstk.Label('ONB[30]', (5.625,26.045), layer=10, texttype=25))
dac2u32out4in.add(gdstk.Label('ON[31]', (4.175,26.045), layer=10, texttype=25))
dac2u32out4in.add(gdstk.Label('ONB[31]', (3.625,26.045), layer=10, texttype=25))
dac2u32out4in.add(gdstk.Label('EN[3]', (2.175,26.045), layer=10, texttype=25))
dac2u32out4in.add(gdstk.Label('ENB[3]', (1.625,26.045), layer=10, texttype=25))
dac2u32out4in.add(gdstk.Label('ON[0]', (3.625,0.145), layer=10, texttype=25))
dac2u32out4in.add(gdstk.Label('ONB[0]', (4.175,0.145), layer=10, texttype=25))
dac2u32out4in.add(gdstk.Label('ON[1]', (5.625,0.145), layer=10, texttype=25))
dac2u32out4in.add(gdstk.Label('ONB[1]', (6.175,0.145), layer=10, texttype=25))
dac2u32out4in.add(gdstk.Label('ON[2]', (7.625,0.145), layer=10, texttype=25))
dac2u32out4in.add(gdstk.Label('ONB[2]', (8.175,0.145), layer=10, texttype=25))
dac2u32out4in.add(gdstk.Label('ON[3]', (9.625,0.145), layer=10, texttype=25))
dac2u32out4in.add(gdstk.Label('ONB[3]', (10.175,0.145), layer=10, texttype=25))
dac2u32out4in.add(gdstk.Label('ON[4]', (11.625,0.145), layer=10, texttype=25))
dac2u32out4in.add(gdstk.Label('ONB[4]', (12.175,0.145), layer=10, texttype=25))
dac2u32out4in.add(gdstk.Label('ON[5]', (13.625,0.145), layer=10, texttype=25))
dac2u32out4in.add(gdstk.Label('ONB[5]', (14.175,0.145), layer=10, texttype=25))
dac2u32out4in.add(gdstk.Label('ON[6]', (15.625,0.145), layer=10, texttype=25))
dac2u32out4in.add(gdstk.Label('EN[0]', (1.625,0.145), layer=10, texttype=25))
dac2u32out4in.add(gdstk.Label('ENB[0]', (2.175,0.145), layer=10, texttype=25))
dac2u32out4in.add(gdstk.Label('ONB[6]', (16.175,0.145), layer=10, texttype=25))
dac2u32out4in.add(gdstk.Label('ON[7]', (17.625,0.145), layer=10, texttype=25))
dac2u32out4in.add(gdstk.Label('ONB[7]', (18.175,0.145), layer=10, texttype=25))
dac2u32out4in.add(gdstk.Label('ON[8]', (19.625,0.145), layer=10, texttype=25))
dac2u32out4in.add(gdstk.Label('ONB[8]', (20.175,0.145), layer=10, texttype=25))
dac2u32out4in.add(gdstk.Label('ON[9]', (21.625,0.145), layer=10, texttype=25))
dac2u32out4in.add(gdstk.Label('ONB[9]', (22.175,0.145), layer=10, texttype=25))
dac2u32out4in.add(gdstk.Label('ON[10]', (23.625,0.145), layer=10, texttype=25))
dac2u32out4in.add(gdstk.Label('ONB[10]', (24.175,0.145), layer=10, texttype=25))
dac2u32out4in.add(gdstk.Label('ON[11]', (25.625,0.145), layer=10, texttype=25))
dac2u32out4in.add(gdstk.Label('ONB[11]', (26.175,0.145), layer=10, texttype=25))
dac2u32out4in.add(gdstk.Label('ON[12]', (27.625,0.145), layer=10, texttype=25))
dac2u32out4in.add(gdstk.Label('ONB[12]', (28.175,0.145), layer=10, texttype=25))
dac2u32out4in.add(gdstk.Label('ON[13]', (29.625,0.145), layer=10, texttype=25))
dac2u32out4in.add(gdstk.Label('ONB[13]', (30.175,0.145), layer=10, texttype=25))
dac2u32out4in.add(gdstk.Label('ON[14]', (31.625,0.145), layer=10, texttype=25))
dac2u32out4in.add(gdstk.Label('ONB[14]', (32.175,0.145), layer=10, texttype=25))
dac2u32out4in.add(gdstk.Label('ON[15]', (33.625,0.145), layer=10, texttype=25))
dac2u32out4in.add(gdstk.Label('ONB[15]', (34.175,0.145), layer=10, texttype=25))
dac2u32out4in.add(gdstk.Label('VcascP[0]', (18.9,4.91), layer=30, texttype=25))
dac2u32out4in.add(gdstk.Label('VSS', (18.9,0.865), layer=30, texttype=25))
dac2u32out4in.add(gdstk.Label('VSS', (18.9,25.325), layer=30, texttype=25))
dac2u32out4in.add(gdstk.Label('VDD', (18.9,3.295), layer=30, texttype=25))
dac2u32out4in.add(gdstk.Label('VDD', (18.9,6.525), layer=30, texttype=25))
dac2u32out4in.add(gdstk.Label('VDD', (18.9,22.895), layer=30, texttype=25))
dac2u32out4in.add(gdstk.Label('VDD', (18.9,19.665), layer=30, texttype=25))
dac2u32out4in.add(gdstk.Label('VcascP[1]', (18.9,21.28), layer=30, texttype=25))

lib.write_gds('dac2u32out4in.gds')
